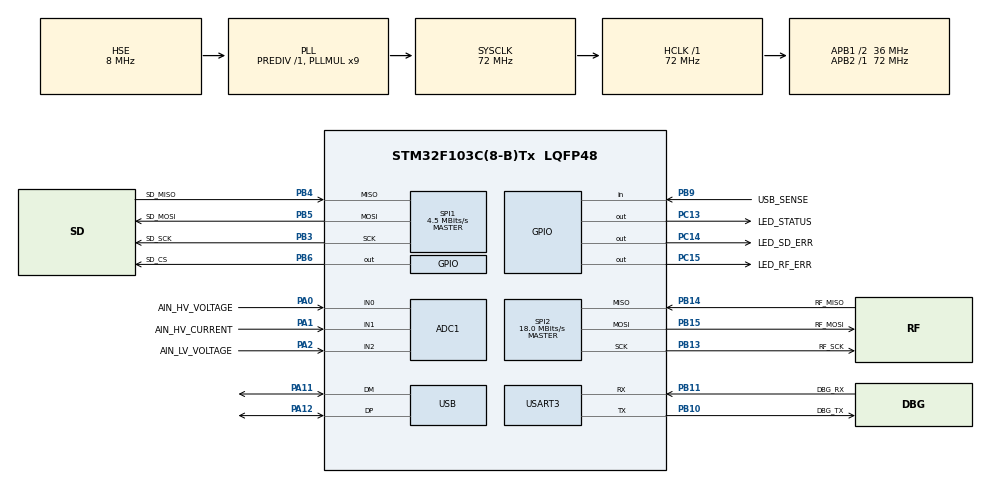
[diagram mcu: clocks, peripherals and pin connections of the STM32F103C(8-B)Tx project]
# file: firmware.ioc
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ADC1.Channel-1\#ChannelRegularConversion=ADC_CHANNEL_VREFINT
ADC1.Channel-2\#ChannelRegularConversion=ADC_CHANNEL_0
ADC1.Channel-3\#ChannelRegularConversion=ADC_CHANNEL_1
ADC1.Channel-4\#ChannelRegularConversion=ADC_CHANNEL_2
ADC1.Channel-5\#ChannelRegularConversion=ADC_CHANNEL_TEMPSENSOR
ADC1.EnableRegularConversion=ENABLE
ADC1.NbrOfConversion=5
ADC1.NbrOfConversionFlag=1
ADC1.Rank-1\#ChannelRegularConversion=1
ADC1.Rank-2\#ChannelRegularConversion=2
ADC1.Rank-3\#ChannelRegularConversion=3
ADC1.Rank-4\#ChannelRegularConversion=4
ADC1.Rank-5\#ChannelRegularConversion=5
ADC1.SamplingTime-1\#ChannelRegularConversion=ADC_SAMPLETIME_239CYCLES_5
ADC1.SamplingTime-2\#ChannelRegularConversion=ADC_SAMPLETIME_239CYCLES_5
ADC1.SamplingTime-3\#ChannelRegularConversion=ADC_SAMPLETIME_239CYCLES_5
ADC1.SamplingTime-4\#ChannelRegularConversion=ADC_SAMPLETIME_239CYCLES_5
ADC1.SamplingTime-5\#ChannelRegularConversion=ADC_SAMPLETIME_55CYCLES_5
ADC1.master=1
Dma.ADC1.0.Direction=DMA_PERIPH_TO_MEMORY
Dma.ADC1.0.Instance=DMA1_Channel1
Dma.ADC1.0.MemDataAlignment=DMA_MDATAALIGN_WORD
Dma.ADC1.0.MemInc=DMA_MINC_ENABLE
Dma.ADC1.0.Mode=DMA_CIRCULAR
Dma.ADC1.0.PeriphDataAlignment=DMA_PDATAALIGN_WORD
Dma.ADC1.0.PeriphInc=DMA_PINC_DISABLE
Dma.ADC1.0.Priority=DMA_PRIORITY_LOW
Dma.Request0=ADC1
FATFS._FS_MINIMIZE=0
FATFS._MAX_SS=512
FATFS._USE_FIND=1
FATFS._USE_LABEL=1
FATFS._USE_LFN=1
Mcu.Family=STM32F1
Mcu.Name=STM32F103C(8-B)Tx
Mcu.Package=LQFP48
NVIC.ADC1_2_IRQn=true\:0\:0\:false\:false\:true\:true\:true\:true
NVIC.DMA1_Channel1_IRQn=true\:0\:0\:false\:false\:true\:false\:true\:true
NVIC.PriorityGroup=NVIC_PRIORITYGROUP_4
NVIC.SPI1_IRQn=true\:0\:0\:false\:false\:true\:true\:true\:true
NVIC.SPI2_IRQn=true\:0\:0\:false\:false\:true\:true\:true\:true
NVIC.TIM1_UP_IRQn=true\:0\:0\:false\:false\:true\:true\:true\:true
NVIC.USB_HP_CAN1_TX_IRQn=true\:0\:0\:false\:false\:true\:true\:true\:true
NVIC.USB_LP_CAN1_RX0_IRQn=true\:0\:0\:false\:false\:true\:true\:true\:true
PA0-WKUP.GPIO_Label=AIN_HV_VOLTAGE
PA0-WKUP.Signal=ADCx_IN0
PA1.GPIO_Label=AIN_HV_CURRENT
PA1.Signal=ADCx_IN1
PA11.Mode=Device
PA11.Signal=USB_DM
PA12.Mode=Device
PA12.Signal=USB_DP
PA13.Mode=Serial_Wire
PA13.Signal=SYS_JTMS-SWDIO
PA14.Mode=Serial_Wire
PA14.Signal=SYS_JTCK-SWCLK
PA2.GPIO_Label=AIN_LV_VOLTAGE
PA2.Signal=ADCx_IN2
PB10.GPIO_Label=DBG_TX
PB10.Mode=Asynchronous
PB10.Signal=USART3_TX
PB11.GPIO_Label=DBG_RX
PB11.Mode=Asynchronous
PB11.Signal=USART3_RX
PB13.GPIO_Label=RF_SCK
PB13.Mode=Full_Duplex_Master
PB13.Signal=SPI2_SCK
PB14.GPIO_Label=RF_MISO
PB14.GPIO_PuPd=GPIO_NOPULL
PB14.Mode=Full_Duplex_Master
PB14.Signal=SPI2_MISO
PB15.GPIO_Label=RF_MOSI
PB15.Mode=Full_Duplex_Master
PB15.Signal=SPI2_MOSI
PB3.GPIO_Label=SD_SCK
PB3.Mode=Full_Duplex_Master
PB3.Signal=SPI1_SCK
PB4.GPIO_Label=SD_MISO
PB4.GPIO_PuPd=GPIO_NOPULL
PB4.Mode=Full_Duplex_Master
PB4.Signal=SPI1_MISO
PB5.GPIO_Label=SD_MOSI
PB5.Mode=Full_Duplex_Master
PB5.Signal=SPI1_MOSI
PB6.GPIO_Label=SD_CS
PB6.PinState=GPIO_PIN_RESET
PB6.Signal=GPIO_Output
PB9.GPIO_Label=USB_SENSE
PB9.GPIO_PuPd=GPIO_PULLDOWN
PB9.Signal=GPIO_Input
PC13-TAMPER-RTC.GPIO_Label=LED_STATUS
PC13-TAMPER-RTC.GPIO_PuPd=GPIO_NOPULL
PC13-TAMPER-RTC.PinState=GPIO_PIN_SET
PC13-TAMPER-RTC.Signal=GPIO_Output
PC14-OSC32_IN.GPIO_Label=LED_SD_ERR
PC14-OSC32_IN.PinState=GPIO_PIN_SET
PC14-OSC32_IN.Signal=GPIO_Output
PC15-OSC32_OUT.GPIO_Label=LED_RF_ERR
PC15-OSC32_OUT.PinState=GPIO_PIN_SET
PC15-OSC32_OUT.Signal=GPIO_Output
PD0-OSC_IN.Mode=HSE-External-Oscillator
PD0-OSC_IN.Signal=RCC_OSC_IN
PD1-OSC_OUT.Mode=HSE-External-Oscillator
PD1-OSC_OUT.Signal=RCC_OSC_OUT
ProjectManager.HeapSize=0x2000
ProjectManager.StackSize=0x800
ProjectManager.TargetToolchain=Makefile
RCC.ADCPresc=RCC_ADCPCLK2_DIV6
RCC.AHBFreq_Value=72000000
RCC.APB1CLKDivider=RCC_HCLK_DIV2
RCC.APB1Freq_Value=36000000
RCC.APB1TimFreq_Value=72000000
RCC.APB2Freq_Value=72000000
RCC.APB2TimFreq_Value=72000000
RCC.HCLKFreq_Value=72000000
RCC.PLLMUL=RCC_PLL_MUL9
RCC.SYSCLKFreq_VALUE=72000000
RCC.SYSCLKSource=RCC_SYSCLKSOURCE_PLLCLK
RCC.USBFreq_Value=48000000
RCC.USBPrescaler=RCC_USBCLKSOURCE_PLL_DIV1_5
RTC.Date=12
RTC.Hours=8
RTC.Minutes=30
RTC.Month=RTC_MONTH_MAY
RTC.Seconds=0
RTC.WeekDay=RTC_WEEKDAY_WEDNESDAY
RTC.Year=99
SH.ADCx_IN0.0=ADC1_IN0,IN0
SH.ADCx_IN1.0=ADC1_IN1,IN1
SH.ADCx_IN2.0=ADC1_IN2,IN2
SPI1.BaudRatePrescaler=SPI_BAUDRATEPRESCALER_16
SPI1.CalculateBaudRate=4.5 MBits/s
SPI1.Direction=SPI_DIRECTION_2LINES
SPI1.Mode=SPI_MODE_MASTER
SPI1.VirtualType=VM_MASTER
SPI2.CalculateBaudRate=18.0 MBits/s
SPI2.Direction=SPI_DIRECTION_2LINES
SPI2.Mode=SPI_MODE_MASTER
SPI2.VirtualType=VM_MASTER
TIM1.Period=2000 - 1
TIM1.Prescaler=720- 1
USART3.VirtualMode=VM_ASYNC
VP_ADC1_TempSens_Input.Mode=IN-TempSens
VP_ADC1_Vref_Input.Mode=IN-Vrefint
VP_CRC_VS_CRC.Mode=CRC_Activate
VP_FATFS_VS_Generic.Mode=User_defined
VP_RTC_No_RTC_Output.Mode=RTC_OUT_NO
VP_RTC_VS_RTC_Activate.Mode=RTC_Enabled
VP_RTC_VS_RTC_Calendar.Mode=RTC_Calendar
VP_TIM1_VS_ClockSourceINT.Mode=Internal
board=custom

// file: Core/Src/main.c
/* USER CODE BEGIN Header */
/**
  ******************************************************************************
  * @file           : main.c
  * @brief          : Main program body
  ******************************************************************************
  * @attention
  *
  * Copyright (c) 2024 STMicroelectronics.
  * All rights reserved.
  *
  * This software is licensed under terms that can be found in the LICENSE file
  * in the root directory of this software component.
  * If no LICENSE file comes with this software, it is provided AS-IS.
  *
  ******************************************************************************
  */
/* USER CODE END Header */
#include "main.h"
#include "adc.h"
#include "crc.h"
#include "dma.h"
#include "fatfs.h"
#include "rtc.h"
#include "spi.h"
#include "tim.h"
#include "usart.h"
#include "usb.h"
#include "gpio.h"

/* USER CODE BEGIN Includes */
#include "energymeter.h"
#include "energymeter_usb.h"
/* USER CODE END Includes */

void SystemClock_Config(void);

/* USER CODE BEGIN 0 */
int _write(int file, uint8_t *ptr, int len) {
  HAL_UART_Transmit(&huart3, (uint8_t *)ptr, (uint16_t)len, 100);
  return (len);
}
/* USER CODE END 0 */

int main(void)
{

  /* MCU Configuration--------------------------------------------------------*/

  /* Reset of all peripherals, Initializes the Flash interface and the Systick. */
  HAL_Init();

  /* Configure the system clock */
  SystemClock_Config();

  /* Initialize all configured peripherals */
  MX_GPIO_Init();
  MX_DMA_Init();
  MX_ADC1_Init();
  MX_CRC_Init();
  MX_RTC_Init();
  MX_SPI1_Init();
  MX_SPI2_Init();
  MX_TIM1_Init();
  MX_FATFS_Init();
  MX_USB_PCD_Init();
  MX_USART3_UART_Init();

  /* Infinite loop */
  /* USER CODE BEGIN WHILE */

  // set mode on boot by USB_SENSE status
  if (HAL_GPIO_ReadPin(USB_SENSE_GPIO_Port, USB_SENSE_Pin) == GPIO_PIN_RESET) {
    mode_energymeter();
  } else {
    mode_usb();
  }

  /* WILL NEVER GOES BEYOND HERE */

  while (1) {
    /* USER CODE END WHILE */

  }
}

void SystemClock_Config(void)
{
  RCC_OscInitTypeDef RCC_OscInitStruct = {0};
  RCC_ClkInitTypeDef RCC_ClkInitStruct = {0};
  RCC_PeriphCLKInitTypeDef PeriphClkInit = {0};

  /** Initializes the RCC Oscillators according to the specified parameters
  * in the RCC_OscInitTypeDef structure.
  */
  RCC_OscInitStruct.OscillatorType = RCC_OSCILLATORTYPE_LSI|RCC_OSCILLATORTYPE_HSE;
  RCC_OscInitStruct.HSEState = RCC_HSE_ON;
  RCC_OscInitStruct.HSEPredivValue = RCC_HSE_PREDIV_DIV1;
  RCC_OscInitStruct.HSIState = RCC_HSI_ON;
  RCC_OscInitStruct.LSIState = RCC_LSI_ON;
  RCC_OscInitStruct.PLL.PLLState = RCC_PLL_ON;
  RCC_OscInitStruct.PLL.PLLSource = RCC_PLLSOURCE_HSE;
  RCC_OscInitStruct.PLL.PLLMUL = RCC_PLL_MUL9;
  if (HAL_RCC_OscConfig(&RCC_OscInitStruct) != HAL_OK)
  {
    Error_Handler();
  }

  /** Initializes the CPU, AHB and APB buses clocks
  */
  RCC_ClkInitStruct.ClockType = RCC_CLOCKTYPE_HCLK|RCC_CLOCKTYPE_SYSCLK
                              |RCC_CLOCKTYPE_PCLK1|RCC_CLOCKTYPE_PCLK2;
  RCC_ClkInitStruct.SYSCLKSource = RCC_SYSCLKSOURCE_PLLCLK;
  RCC_ClkInitStruct.AHBCLKDivider = RCC_SYSCLK_DIV1;
  RCC_ClkInitStruct.APB1CLKDivider = RCC_HCLK_DIV2;
  RCC_ClkInitStruct.APB2CLKDivider = RCC_HCLK_DIV1;

  if (HAL_RCC_ClockConfig(&RCC_ClkInitStruct, FLASH_LATENCY_2) != HAL_OK)
  {
    Error_Handler();
  }
  PeriphClkInit.PeriphClockSelection = RCC_PERIPHCLK_RTC|RCC_PERIPHCLK_ADC
                              |RCC_PERIPHCLK_USB;
  PeriphClkInit.RTCClockSelection = RCC_RTCCLKSOURCE_LSI;
  PeriphClkInit.AdcClockSelection = RCC_ADCPCLK2_DIV6;
  PeriphClkInit.UsbClockSelection = RCC_USBCLKSOURCE_PLL_DIV1_5;
  if (HAL_RCCEx_PeriphCLKConfig(&PeriphClkInit) != HAL_OK)
  {
    Error_Handler();
  }
}

void Error_Handler(void)
{
  /* USER CODE BEGIN Error_Handler_Debug */
  #if RF_ENABLED
  uint32_t error_time = boot_time + HAL_GetTick();
  #endif

  while (1) {
    HAL_GPIO_TogglePin(LED_STATUS_GPIO_Port, LED_STATUS_Pin);
    HAL_Delay(100);

    #if RF_ENABLED
      // TODO
    #endif
  }

  __disable_irq();
  /* USER CODE END Error_Handler_Debug */
}
